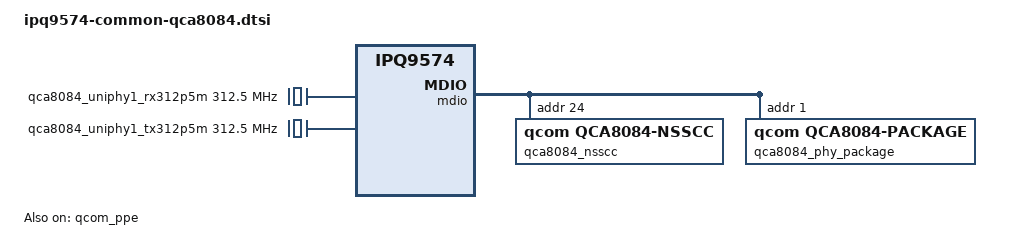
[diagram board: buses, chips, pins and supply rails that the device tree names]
// SPDX-License-Identifier: (GPL-2.0+ OR BSD-3-Clause)

/* QCA8084 PCS1 QXGMII to IPQ9574 PCS0, with four integrated PHYs.
 * Reset wiring, port names, MAC cells and front-panel LEDs stay on the board.
 */
#include <dt-bindings/clock/qcom,qca8k-nsscc.h>
#include <dt-bindings/net/qcom,qca808x.h>
#include <dt-bindings/reset/qcom,qca8k-nsscc.h>

/ {
	clocks {
		qca8084_uniphy1_rx312p5m: qca8k-uniphy1-rx312p5m {
			compatible = "fixed-clock";
			clock-frequency = <312500000>;
			#clock-cells = <0>;
		};

		qca8084_uniphy1_tx312p5m: qca8k-uniphy1-tx312p5m {
			compatible = "fixed-clock";
			clock-frequency = <312500000>;
			#clock-cells = <0>;
		};
	};
};

&mdio {
	qca8084_nsscc: clock-controller@18 {
		compatible = "qcom,qca8084-nsscc";
		reg = <0x18>;
		clocks = <&cmn_pll ETH0_50MHZ_CLK>,
			 <0>,
			 <0>,
			 <0>,
			 <0>,
			 <&qca8084_uniphy1_rx312p5m>,
			 <&qca8084_uniphy1_tx312p5m>;
		#clock-cells = <1>;
		#reset-cells = <1>;
	};

	qca8084_phy_package: ethernet-phy-package@1 {
		#address-cells = <1>;
		#size-cells = <0>;
		compatible = "qcom,qca8084-package";
		reg = <1>;
		clocks = <&qca8084_nsscc NSS_CC_APB_BRIDGE_CLK>,
			 <&qca8084_nsscc NSS_CC_AHB_CLK>,
			 <&qca8084_nsscc NSS_CC_SEC_CTRL_AHB_CLK>,
			 <&qca8084_nsscc NSS_CC_TLMM_CLK>,
			 <&qca8084_nsscc NSS_CC_TLMM_AHB_CLK>,
			 <&qca8084_nsscc NSS_CC_CNOC_AHB_CLK>,
			 <&qca8084_nsscc NSS_CC_MDIO_AHB_CLK>;
		clock-names = "apb_bridge",
			      "ahb",
			      "sec_ctrl_ahb",
			      "tlmm",
			      "tlmm_ahb",
			      "cnoc_ahb",
			      "mdio_ahb";
		resets = <&qca8084_nsscc NSS_CC_GEPHY_FULL_ARES>;
		qcom,phy-addr-fixup = <1 2 3 4 5 6 7>;
		qcom,package-mode = <QCA808X_PCS1_10G_QXGMII_PCS0_UNUNSED>;

		qca8084_phy1: ethernet-phy@1 {
			compatible = "ethernet-phy-id004d.d180";
			reg = <1>;
			clocks = <&qca8084_nsscc NSS_CC_GEPHY0_SYS_CLK>;
			resets = <&qca8084_nsscc NSS_CC_GEPHY0_SYS_ARES>;
			qcom,xpcs-channel = <0>;
		};

		qca8084_phy2: ethernet-phy@2 {
			compatible = "ethernet-phy-id004d.d180";
			reg = <2>;
			clocks = <&qca8084_nsscc NSS_CC_GEPHY1_SYS_CLK>;
			resets = <&qca8084_nsscc NSS_CC_GEPHY1_SYS_ARES>;
			qcom,xpcs-channel = <1>;
		};

		qca8084_phy3: ethernet-phy@3 {
			compatible = "ethernet-phy-id004d.d180";
			reg = <3>;
			clocks = <&qca8084_nsscc NSS_CC_GEPHY2_SYS_CLK>;
			resets = <&qca8084_nsscc NSS_CC_GEPHY2_SYS_ARES>;
			qcom,xpcs-channel = <2>;
		};

		qca8084_phy4: ethernet-phy@4 {
			compatible = "ethernet-phy-id004d.d180";
			reg = <4>;
			clocks = <&qca8084_nsscc NSS_CC_GEPHY3_SYS_CLK>;
			resets = <&qca8084_nsscc NSS_CC_GEPHY3_SYS_ARES>;
			qcom,xpcs-channel = <3>;
		};

		pcs-phy@6 {
			compatible = "qcom,qca8k-pcs-phy";
			reg = <6>;
			clocks = <&qca8084_nsscc NSS_CC_SRDS1_SYS_CLK>,
				 <&qca8084_uniphy1_tx312p5m>,
				 <&qca8084_uniphy1_rx312p5m>;
			clock-names = "pcs", "pcs_rx_root", "pcs_tx_root";
			resets = <&qca8084_nsscc NSS_CC_SRDS1_SYS_ARES>;
		};

		xpcs-phy@7 {
			compatible = "qcom,qca8k-xpcs-phy";
			reg = <7>;
			#address-cells = <1>;
			#size-cells = <0>;
			resets = <&qca8084_nsscc NSS_CC_XPCS_ARES>;

			channel@0 {
				reg = <0>;
				clocks = <&qca8084_nsscc NSS_CC_MAC1_SRDS1_CH0_XGMII_TX_CLK>,
					 <&qca8084_nsscc NSS_CC_MAC1_SRDS1_CH0_XGMII_RX_CLK>,
					 <&qca8084_nsscc NSS_CC_MAC1_SRDS1_CH0_TX_CLK>,
					 <&qca8084_nsscc NSS_CC_MAC1_SRDS1_CH0_RX_CLK>,
					 <&qca8084_nsscc NSS_CC_MAC1_GEPHY0_RX_CLK>,
					 <&qca8084_nsscc NSS_CC_MAC1_GEPHY0_TX_CLK>,
					 <&qca8084_nsscc NSS_CC_MAC1_RX_CLK_SRC>,
					 <&qca8084_nsscc NSS_CC_MAC1_TX_CLK_SRC>;
				clock-names = "xgmii_rx",
					      "xgmii_tx",
					      "xpcs_rx",
					      "xpcs_tx",
					      "port_rx",
					      "port_tx",
					      "rx_src",
					      "tx_src";
				resets = <&qca8084_nsscc NSS_CC_MAC1_SRDS1_CH0_XGMII_TX_ARES>,
					 <&qca8084_nsscc NSS_CC_MAC1_SRDS1_CH0_XGMII_RX_ARES>,
					 <&qca8084_nsscc NSS_CC_MAC1_SRDS1_CH0_TX_ARES>,
					 <&qca8084_nsscc NSS_CC_MAC1_SRDS1_CH0_RX_ARES>,
					 <&qca8084_nsscc NSS_CC_MAC1_GEPHY0_RX_ARES>,
					 <&qca8084_nsscc NSS_CC_MAC1_GEPHY0_TX_ARES>;
				reset-names = "xgmii_rx",
					      "xgmii_tx",
					      "xpcs_rx",
					      "xpcs_tx",
					      "port_rx",
					      "port_tx";
			};

			channel@1 {
				reg = <1>;
				clocks = <&qca8084_nsscc NSS_CC_MAC2_SRDS1_CH1_XGMII_TX_CLK>,
					 <&qca8084_nsscc NSS_CC_MAC2_SRDS1_CH1_XGMII_RX_CLK>,
					 <&qca8084_nsscc NSS_CC_MAC2_SRDS1_CH1_TX_CLK>,
					 <&qca8084_nsscc NSS_CC_MAC2_SRDS1_CH1_RX_CLK>,
					 <&qca8084_nsscc NSS_CC_MAC2_GEPHY1_RX_CLK>,
					 <&qca8084_nsscc NSS_CC_MAC2_GEPHY1_TX_CLK>,
					 <&qca8084_nsscc NSS_CC_MAC2_RX_CLK_SRC>,
					 <&qca8084_nsscc NSS_CC_MAC2_TX_CLK_SRC>;
				clock-names = "xgmii_rx",
					      "xgmii_tx",
					      "xpcs_rx",
					      "xpcs_tx",
					      "port_rx",
					      "port_tx",
					      "rx_src",
					      "tx_src";
				resets = <&qca8084_nsscc NSS_CC_MAC2_SRDS1_CH1_XGMII_TX_ARES>,
					 <&qca8084_nsscc NSS_CC_MAC2_SRDS1_CH1_XGMII_RX_ARES>,
					 <&qca8084_nsscc NSS_CC_MAC2_SRDS1_CH1_TX_ARES>,
					 <&qca8084_nsscc NSS_CC_MAC2_SRDS1_CH1_RX_ARES>,
					 <&qca8084_nsscc NSS_CC_MAC2_GEPHY1_RX_ARES>,
					 <&qca8084_nsscc NSS_CC_MAC2_GEPHY1_TX_ARES>;
				reset-names = "xgmii_rx",
					      "xgmii_tx",
					      "xpcs_rx",
					      "xpcs_tx",
					      "port_rx",
					      "port_tx";
			};

			channel@2 {
				reg = <2>;
				clocks = <&qca8084_nsscc NSS_CC_MAC3_SRDS1_CH2_XGMII_TX_CLK>,
					 <&qca8084_nsscc NSS_CC_MAC3_SRDS1_CH2_XGMII_RX_CLK>,
					 <&qca8084_nsscc NSS_CC_MAC3_SRDS1_CH2_TX_CLK>,
					 <&qca8084_nsscc NSS_CC_MAC3_SRDS1_CH2_RX_CLK>,
					 <&qca8084_nsscc NSS_CC_MAC3_GEPHY2_RX_CLK>,
					 <&qca8084_nsscc NSS_CC_MAC3_GEPHY2_TX_CLK>,
					 <&qca8084_nsscc NSS_CC_MAC3_RX_CLK_SRC>,
					 <&qca8084_nsscc NSS_CC_MAC3_TX_CLK_SRC>;
				clock-names = "xgmii_rx",
					      "xgmii_tx",
					      "xpcs_rx",
					      "xpcs_tx",
					      "port_rx",
					      "port_tx",
					      "rx_src",
					      "tx_src";
				resets = <&qca8084_nsscc NSS_CC_MAC3_SRDS1_CH2_XGMII_TX_ARES>,
					 <&qca8084_nsscc NSS_CC_MAC3_SRDS1_CH2_XGMII_RX_ARES>,
					 <&qca8084_nsscc NSS_CC_MAC3_SRDS1_CH2_TX_ARES>,
					 <&qca8084_nsscc NSS_CC_MAC3_SRDS1_CH2_RX_ARES>,
					 <&qca8084_nsscc NSS_CC_MAC3_GEPHY2_RX_ARES>,
					 <&qca8084_nsscc NSS_CC_MAC3_GEPHY2_TX_ARES>;
				reset-names = "xgmii_rx",
					      "xgmii_tx",
					      "xpcs_rx",
					      "xpcs_tx",
					      "port_rx",
					      "port_tx";
			};

			channel@3 {
				reg = <3>;
				clocks = <&qca8084_nsscc NSS_CC_MAC4_SRDS1_CH3_XGMII_TX_CLK>,
					 <&qca8084_nsscc NSS_CC_MAC4_SRDS1_CH3_XGMII_RX_CLK>,
					 <&qca8084_nsscc NSS_CC_MAC4_SRDS1_CH3_TX_CLK>,
					 <&qca8084_nsscc NSS_CC_MAC4_SRDS1_CH3_RX_CLK>,
					 <&qca8084_nsscc NSS_CC_MAC4_GEPHY3_RX_CLK>,
					 <&qca8084_nsscc NSS_CC_MAC4_GEPHY3_TX_CLK>,
					 <&qca8084_nsscc NSS_CC_MAC4_RX_CLK_SRC>,
					 <&qca8084_nsscc NSS_CC_MAC4_TX_CLK_SRC>;
				clock-names = "xgmii_rx",
					      "xgmii_tx",
					      "xpcs_rx",
					      "xpcs_tx",
					      "port_rx",
					      "port_tx",
					      "rx_src",
					      "tx_src";
				resets = <&qca8084_nsscc NSS_CC_MAC4_SRDS1_CH3_XGMII_TX_ARES>,
					 <&qca8084_nsscc NSS_CC_MAC4_SRDS1_CH3_XGMII_RX_ARES>,
					 <&qca8084_nsscc NSS_CC_MAC4_SRDS1_CH3_TX_ARES>,
					 <&qca8084_nsscc NSS_CC_MAC4_SRDS1_CH3_RX_ARES>,
					 <&qca8084_nsscc NSS_CC_MAC4_GEPHY3_RX_ARES>,
					 <&qca8084_nsscc NSS_CC_MAC4_GEPHY3_TX_ARES>;
				reset-names = "xgmii_rx",
					      "xgmii_tx",
					      "xpcs_rx",
					      "xpcs_tx",
					      "port_rx",
					      "port_tx";
			};
		};
	};
};

&qcom_ppe {
	status = "okay";

	ethernet-ports {
		#address-cells = <1>;
		#size-cells = <0>;

		ppe_port1: port@1 {
			reg = <1>;
			phy-mode = "10g-qxgmii";
			phy-handle = <&qca8084_phy1>;
			managed = "in-band-status";
			pcs-handle = <&pcs0_ch0>;
			clocks = <&nsscc NSS_CC_PORT1_MAC_CLK>,
				 <&nsscc NSS_CC_PORT1_RX_CLK>,
				 <&nsscc NSS_CC_PORT1_TX_CLK>;
			clock-names = "mac",
				      "rx",
				      "tx";
			resets = <&nsscc PORT1_MAC_ARES>,
				 <&nsscc PORT1_RX_ARES>,
				 <&nsscc PORT1_TX_ARES>;
			reset-names = "mac",
				      "rx",
				      "tx";
		};

		ppe_port2: port@2 {
			reg = <2>;
			phy-mode = "10g-qxgmii";
			phy-handle = <&qca8084_phy2>;
			managed = "in-band-status";
			pcs-handle = <&pcs0_ch1>;
			clocks = <&nsscc NSS_CC_PORT2_MAC_CLK>,
				 <&nsscc NSS_CC_PORT2_RX_CLK>,
				 <&nsscc NSS_CC_PORT2_TX_CLK>;
			clock-names = "mac",
				      "rx",
				      "tx";
			resets = <&nsscc PORT2_MAC_ARES>,
				 <&nsscc PORT2_RX_ARES>,
				 <&nsscc PORT2_TX_ARES>;
			reset-names = "mac",
				      "rx",
				      "tx";
		};

		ppe_port3: port@3 {
			reg = <3>;
			phy-mode = "10g-qxgmii";
			phy-handle = <&qca8084_phy3>;
			managed = "in-band-status";
			pcs-handle = <&pcs0_ch2>;
			clocks = <&nsscc NSS_CC_PORT3_MAC_CLK>,
				 <&nsscc NSS_CC_PORT3_RX_CLK>,
				 <&nsscc NSS_CC_PORT3_TX_CLK>;
			clock-names = "mac",
				      "rx",
				      "tx";
			resets = <&nsscc PORT3_MAC_ARES>,
				 <&nsscc PORT3_RX_ARES>,
				 <&nsscc PORT3_TX_ARES>;
			reset-names = "mac",
				      "rx",
				      "tx";
		};

		ppe_port4: port@4 {
			reg = <4>;
			phy-mode = "10g-qxgmii";
			phy-handle = <&qca8084_phy4>;
			managed = "in-band-status";
			pcs-handle = <&pcs0_ch3>;
			clocks = <&nsscc NSS_CC_PORT4_MAC_CLK>,
				 <&nsscc NSS_CC_PORT4_RX_CLK>,
				 <&nsscc NSS_CC_PORT4_TX_CLK>;
			clock-names = "mac",
				      "rx",
				      "tx";
			resets = <&nsscc PORT4_MAC_ARES>,
				 <&nsscc PORT4_RX_ARES>,
				 <&nsscc PORT4_TX_ARES>;
			reset-names = "mac",
				      "rx",
				      "tx";
		};
	};
};
